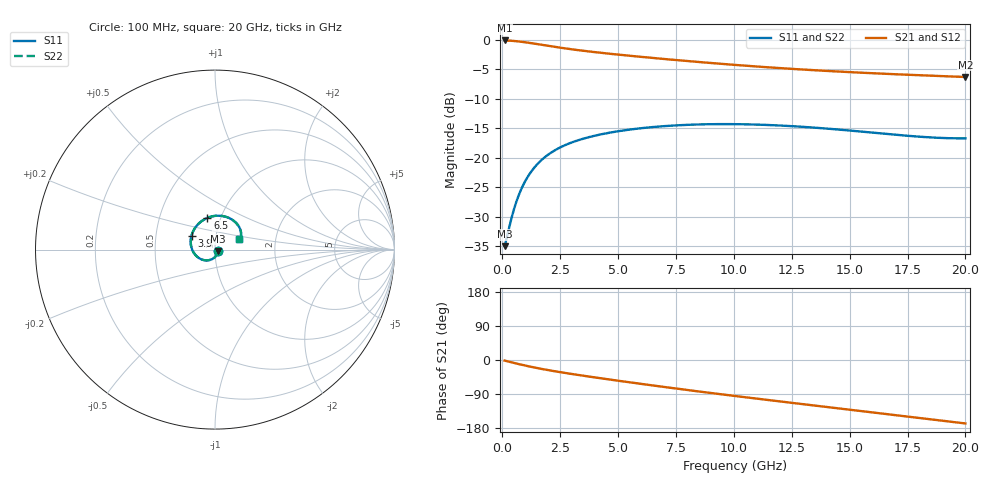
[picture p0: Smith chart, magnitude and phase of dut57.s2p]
! Created with skrf 1.9.0 (http://scikit-rf.org).
# GHz S RI R 50.0
!freq ReS11 ImS11 ReS21 ImS21 ReS12 ImS12 ReS22 ImS22
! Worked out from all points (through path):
!   200 points, 100 MHz to 20 GHz, reference 50 ohm
!   highest |S21| = -0.15 dB at 100 MHz (marker M1); lowest = -6.3 dB at 20 GHz (marker M2)
!   group delay of S21, straight-line fit = 21.9 ps
!   lowest |S11| = -35.0 dB at 100 MHz (marker M3), VSWR 1.04, Z = 51.7 - j0.741 ohm
!   |S11| at or under -10 dB: start of sweep to end of sweep
!   |S22| runs from -35.0 to -14.3 dB; largest |S21 - S12| = 2e-15
!   S11 on the Smith chart (normalised r, x): 100 MHz: 1.03, -0.01; 3.9 GHz: 0.76, +0.12; 6.5 GHz: 0.87, +0.32; 20 GHz: 1.29, +0.16
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0.1  0.0164 -0.00717  0.9823 -0.0273  0.9823 -0.0273  0.0164 -0.00717
0.4  0.009 -0.0296  0.9707 -0.1052  0.9707 -0.1052  0.009 -0.0296
0.5  0.00454 -0.0362  0.9642 -0.1302  0.9642 -0.1302  0.00454 -0.0362
0.7  -0.00677 -0.0472  0.9478 -0.1777  0.9478 -0.1777  -0.00677 -0.0472
1  -0.0279 -0.0575  0.9166 -0.2424  0.9166 -0.2424  -0.0279 -0.0575
1.3  -0.0511 -0.0599  0.8802 -0.2985  0.8802 -0.2985  -0.0511 -0.0599
1.7  -0.0806 -0.0521  0.828 -0.3609  0.828 -0.3609  -0.0806 -0.0521
2.2  -0.1096 -0.0295  0.7621 -0.4227  0.7621 -0.4227  -0.1096 -0.0295
2.8  -0.1299 0.00729  0.686 -0.4805  0.686 -0.4805  -0.1299 0.00729
3.5  -0.1351 0.0529  0.6018 -0.5328  0.6018 -0.5328  -0.1351 0.0529
3.9  -0.1309 0.0775  0.5553 -0.5573  0.5553 -0.5573  -0.1309 0.0775
5.2  -0.0947 0.1411  0.4095 -0.6154  0.4095 -0.6154  -0.0947 0.1411
6.5  -0.0419 0.177  0.2709 -0.6442  0.2709 -0.6442  -0.0419 0.177
6.8  -0.0292 0.1816  0.2402 -0.6471  0.2402 -0.6471  -0.0292 0.1816
8.4  0.0349 0.188  0.0861 -0.6422  0.0861 -0.6422  0.0349 0.188
10.1  0.0885 0.1709  -0.0569 -0.6067  -0.0569 -0.6067  0.0885 0.1709
11.7  0.1219 0.1439  -0.1711 -0.5527  -0.1711 -0.5527  0.1219 0.1439
13.4  0.1405 0.1131  -0.2716 -0.4798  -0.2716 -0.4798  0.1405 0.1131
15.1  0.1455 0.0866  -0.3521 -0.3949  -0.3521 -0.3949  0.1455 0.0866
16.7  0.1424 0.0692  -0.4098 -0.3063  -0.4098 -0.3063  0.1424 0.0692
18.4  0.1361 0.0606  -0.4515 -0.2048  -0.4515 -0.2048  0.1361 0.0606
20  0.1325 0.0612  -0.4707 -0.1048  -0.4707 -0.1048  0.1325 0.0612
